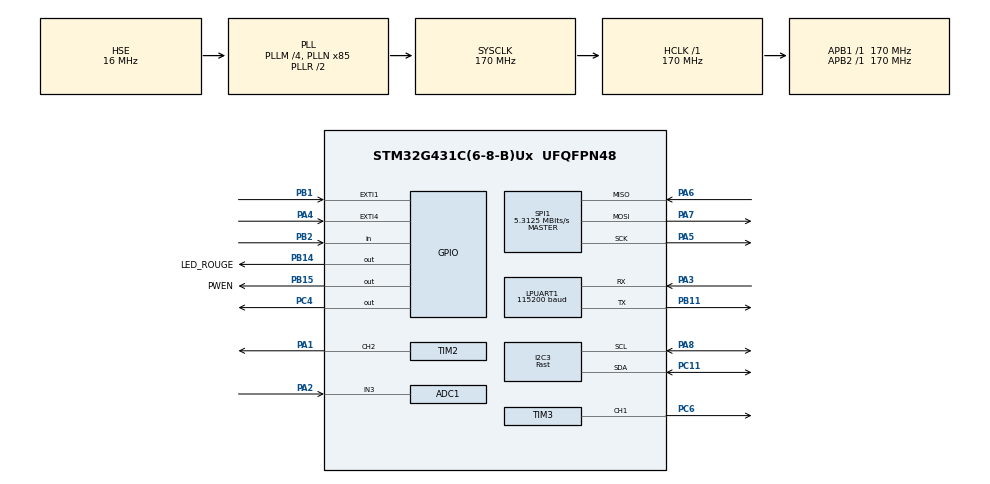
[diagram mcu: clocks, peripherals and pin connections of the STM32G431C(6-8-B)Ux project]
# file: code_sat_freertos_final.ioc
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ADC1.Channel-0\#ChannelRegularConversion=ADC_CHANNEL_VREFINT
ADC1.Channel-1\#ChannelRegularConversion=ADC_CHANNEL_TEMPSENSOR_ADC1
ADC1.Channel-2\#ChannelRegularConversion=ADC_CHANNEL_3
ADC1.ContinuousConvMode=ENABLE
ADC1.EOCSelection=ADC_EOC_SEQ_CONV
ADC1.NbrOfConversion=3
ADC1.NbrOfConversionFlag=1
ADC1.OffsetNumber-0\#ChannelRegularConversion=ADC_OFFSET_NONE
ADC1.OffsetNumber-1\#ChannelRegularConversion=ADC_OFFSET_NONE
ADC1.OffsetNumber-2\#ChannelRegularConversion=ADC_OFFSET_NONE
ADC1.Rank-0\#ChannelRegularConversion=1
ADC1.Rank-1\#ChannelRegularConversion=2
ADC1.Rank-2\#ChannelRegularConversion=3
ADC1.SamplingTime-0\#ChannelRegularConversion=ADC_SAMPLETIME_640CYCLES_5
ADC1.SamplingTime-1\#ChannelRegularConversion=ADC_SAMPLETIME_640CYCLES_5
ADC1.SamplingTime-2\#ChannelRegularConversion=ADC_SAMPLETIME_640CYCLES_5
ADC1.master=1
Dma.ADC1.0.Direction=DMA_PERIPH_TO_MEMORY
Dma.ADC1.0.EventEnable=DISABLE
Dma.ADC1.0.Instance=DMA1_Channel2
Dma.ADC1.0.MemDataAlignment=DMA_MDATAALIGN_HALFWORD
Dma.ADC1.0.MemInc=DMA_MINC_ENABLE
Dma.ADC1.0.Mode=DMA_CIRCULAR
Dma.ADC1.0.PeriphDataAlignment=DMA_PDATAALIGN_HALFWORD
Dma.ADC1.0.PeriphInc=DMA_PINC_DISABLE
Dma.ADC1.0.Polarity=HAL_DMAMUX_REQ_GEN_RISING
Dma.ADC1.0.Priority=DMA_PRIORITY_LOW
Dma.ADC1.0.RequestNumber=1
Dma.ADC1.0.SignalID=NONE
Dma.ADC1.0.SyncEnable=DISABLE
Dma.ADC1.0.SyncPolarity=HAL_DMAMUX_SYNC_NO_EVENT
Dma.ADC1.0.SyncRequestNumber=1
Dma.ADC1.0.SyncSignalID=NONE
Dma.LPUART1_RX.1.Direction=DMA_PERIPH_TO_MEMORY
Dma.LPUART1_RX.1.EventEnable=DISABLE
Dma.LPUART1_RX.1.Instance=DMA1_Channel3
Dma.LPUART1_RX.1.MemDataAlignment=DMA_MDATAALIGN_BYTE
Dma.LPUART1_RX.1.MemInc=DMA_MINC_ENABLE
Dma.LPUART1_RX.1.Mode=DMA_CIRCULAR
Dma.LPUART1_RX.1.PeriphDataAlignment=DMA_PDATAALIGN_BYTE
Dma.LPUART1_RX.1.PeriphInc=DMA_PINC_DISABLE
Dma.LPUART1_RX.1.Polarity=HAL_DMAMUX_REQ_GEN_RISING
Dma.LPUART1_RX.1.Priority=DMA_PRIORITY_LOW
Dma.LPUART1_RX.1.RequestNumber=1
Dma.LPUART1_RX.1.SignalID=NONE
Dma.LPUART1_RX.1.SyncEnable=DISABLE
Dma.LPUART1_RX.1.SyncPolarity=HAL_DMAMUX_SYNC_NO_EVENT
Dma.LPUART1_RX.1.SyncRequestNumber=1
Dma.LPUART1_RX.1.SyncSignalID=NONE
Dma.LPUART1_TX.3.Direction=DMA_MEMORY_TO_PERIPH
Dma.LPUART1_TX.3.EventEnable=DISABLE
Dma.LPUART1_TX.3.Instance=DMA1_Channel4
Dma.LPUART1_TX.3.MemDataAlignment=DMA_MDATAALIGN_BYTE
Dma.LPUART1_TX.3.MemInc=DMA_MINC_ENABLE
Dma.LPUART1_TX.3.Mode=DMA_NORMAL
Dma.LPUART1_TX.3.PeriphDataAlignment=DMA_PDATAALIGN_BYTE
Dma.LPUART1_TX.3.PeriphInc=DMA_PINC_DISABLE
Dma.LPUART1_TX.3.Polarity=HAL_DMAMUX_REQ_GEN_RISING
Dma.LPUART1_TX.3.Priority=DMA_PRIORITY_LOW
Dma.LPUART1_TX.3.RequestNumber=1
Dma.LPUART1_TX.3.SignalID=NONE
Dma.LPUART1_TX.3.SyncEnable=DISABLE
Dma.LPUART1_TX.3.SyncPolarity=HAL_DMAMUX_SYNC_NO_EVENT
Dma.LPUART1_TX.3.SyncRequestNumber=1
Dma.LPUART1_TX.3.SyncSignalID=NONE
Dma.Request0=ADC1
Dma.Request1=LPUART1_RX
Dma.Request2=TIM2_CH2
Dma.Request3=LPUART1_TX
Dma.TIM2_CH2.2.Direction=DMA_MEMORY_TO_PERIPH
Dma.TIM2_CH2.2.EventEnable=DISABLE
Dma.TIM2_CH2.2.Instance=DMA1_Channel1
Dma.TIM2_CH2.2.MemDataAlignment=DMA_MDATAALIGN_BYTE
Dma.TIM2_CH2.2.MemInc=DMA_MINC_ENABLE
Dma.TIM2_CH2.2.Mode=DMA_NORMAL
Dma.TIM2_CH2.2.PeriphDataAlignment=DMA_PDATAALIGN_WORD
Dma.TIM2_CH2.2.PeriphInc=DMA_PINC_DISABLE
Dma.TIM2_CH2.2.Polarity=HAL_DMAMUX_REQ_GEN_RISING
Dma.TIM2_CH2.2.Priority=DMA_PRIORITY_LOW
Dma.TIM2_CH2.2.RequestNumber=1
Dma.TIM2_CH2.2.SignalID=NONE
Dma.TIM2_CH2.2.SyncEnable=DISABLE
Dma.TIM2_CH2.2.SyncPolarity=HAL_DMAMUX_SYNC_NO_EVENT
Dma.TIM2_CH2.2.SyncRequestNumber=1
Dma.TIM2_CH2.2.SyncSignalID=NONE
FATFS._MAX_SS=512
FATFS._USE_LFN=0
FREERTOS.BinarySemaphores01=uartTxDone,Dynamic,NULL,Available
FREERTOS.INCLUDE_vTaskDelayUntil=1
FREERTOS.Mutexes01=SDCard_mutexe,Dynamic,NULL,Depleted;I2Cmutex,Dynamic,NULL,Depleted;uartmutex,Dynamic,NULL,Available
FREERTOS.Tasks01=statemachine,1,300,Startstatemachine,Default,NULL,Dynamic,NULL,NULL;Sdcardwrite,0,512,StartSdcard,Default,NULL,Dynamic,NULL,NULL;tarvosDecode,3,256,startTarvosDecode,Default,NULL,Dynamic,NULL,NULL
FREERTOS.configENABLE_FPU=1
FREERTOS.configTOTAL_HEAP_SIZE=12000
FREERTOS.configUSE_NEWLIB_REENTRANT=1
I2C3.I2C_Speed_Mode=I2C_Fast
I2C3.Timing=0x40621236
LPUART1.BaudRate=115200
Mcu.Family=STM32G4
Mcu.Name=STM32G431C(6-8-B)Ux
Mcu.Package=UFQFPN48
NVIC.ADC1_2_IRQn=true\:5\:0\:false\:false\:true\:true\:true\:true\:true
NVIC.DMA1_Channel1_IRQn=true\:5\:0\:false\:false\:true\:true\:false\:true\:true
NVIC.DMA1_Channel2_IRQn=true\:5\:0\:false\:false\:true\:true\:false\:true\:true
NVIC.DMA1_Channel3_IRQn=true\:5\:0\:false\:false\:true\:true\:false\:true\:true
NVIC.DMA1_Channel4_IRQn=true\:5\:0\:false\:false\:true\:true\:false\:true\:true
NVIC.EXTI1_IRQn=true\:5\:0\:false\:false\:true\:true\:true\:true\:true
NVIC.EXTI4_IRQn=true\:5\:0\:false\:false\:true\:true\:true\:true\:true
NVIC.LPUART1_IRQn=true\:5\:0\:false\:false\:true\:true\:true\:true\:true
NVIC.PriorityGroup=NVIC_PRIORITYGROUP_4
NVIC.TIM1_UP_TIM16_IRQn=true\:15\:0\:false\:false\:true\:false\:false\:true\:true
NVIC.TIM2_IRQn=true\:5\:0\:false\:false\:true\:true\:true\:true\:true
NVIC.TIM4_IRQn=true\:6\:0\:true\:false\:true\:true\:true\:true\:true
NVIC.TimeBase=TIM1_UP_TIM16_IRQn
NVIC.TimeBaseIP=TIM1
PA1.GPIO_Speed=GPIO_SPEED_FREQ_MEDIUM
PA1.Signal=S_TIM2_CH2
PA13.Mode=Trace_Asynchronous_SW
PA13.Signal=SYS_JTMS-SWDIO
PA14.Mode=Trace_Asynchronous_SW
PA14.Signal=SYS_JTCK-SWCLK
PA2.Mode=IN3-Single-Ended
PA2.Signal=ADC1_IN3
PA3.Mode=Asynchronous
PA3.Signal=LPUART1_RX
PA4.GPIO_ModeDefaultEXTI=GPIO_MODE_IT_RISING_FALLING
PA4.Signal=GPXTI4
PA5.GPIO_PuPd=GPIO_NOPULL
PA5.Mode=Full_Duplex_Master
PA5.Signal=SPI1_SCK
PA6.GPIO_PuPd=GPIO_NOPULL
PA6.Mode=Full_Duplex_Master
PA6.Signal=SPI1_MISO
PA7.GPIO_PuPd=GPIO_NOPULL
PA7.Mode=Full_Duplex_Master
PA7.Signal=SPI1_MOSI
PA8.Mode=I2C
PA8.Signal=I2C3_SCL
PB1.GPIO_ModeDefaultEXTI=GPIO_MODE_IT_RISING_FALLING
PB1.GPIO_PuPd=GPIO_NOPULL
PB1.Signal=GPXTI1
PB11.Mode=Asynchronous
PB11.Signal=LPUART1_TX
PB14.GPIO_Label=LED_ROUGE
PB14.Signal=GPIO_Output
PB15.GPIO_Label=PWEN
PB15.Signal=GPIO_Output
PB2.Signal=GPIO_Input
PB3.Mode=Trace_Asynchronous_SW
PB3.Signal=SYS_JTDO-SWO
PC11.Mode=I2C
PC11.Signal=I2C3_SDA
PC4.Signal=GPIO_Output
PC6.Signal=S_TIM3_CH1
PF0-OSC_IN.Mode=HSE-External-Oscillator
PF0-OSC_IN.Signal=RCC_OSC_IN
PF1-OSC_OUT.Mode=HSE-External-Oscillator
PF1-OSC_OUT.Signal=RCC_OSC_OUT
ProjectManager.HeapSize=0x200
ProjectManager.StackSize=0x400
ProjectManager.TargetToolchain=STM32CubeIDE
RCC.ADC12Freq_Value=170000000
RCC.AHBFreq_Value=170000000
RCC.APB1Freq_Value=170000000
RCC.APB1TimFreq_Value=170000000
RCC.APB2Freq_Value=170000000
RCC.APB2TimFreq_Value=170000000
RCC.CortexFreq_Value=170000000
RCC.EXTERNAL_CLOCK_VALUE=12288000
RCC.HCLKFreq_Value=170000000
RCC.HSE_VALUE=16000000
RCC.HSI48_VALUE=48000000
RCC.HSI_VALUE=16000000
RCC.LSE_VALUE=32768
RCC.PLLM=RCC_PLLM_DIV4
RCC.PLLN=85
RCC.PLLSourceVirtual=RCC_PLLSOURCE_HSE
RCC.SYSCLKFreq_VALUE=170000000
RCC.SYSCLKSource=RCC_SYSCLKSOURCE_PLLCLK
RCC.USBFreq_Value=170000000
RCC.VCOOutputFreq_Value=340000000
SH.S_TIM2_CH2.0=TIM2_CH2,PWM Generation2 CH2
SH.S_TIM3_CH1.0=TIM3_CH1,PWM Generation1 CH1
SPI1.BaudRatePrescaler=SPI_BAUDRATEPRESCALER_32
SPI1.CalculateBaudRate=5.3125 MBits/s
SPI1.DataSize=SPI_DATASIZE_8BIT
SPI1.Direction=SPI_DIRECTION_2LINES
SPI1.Mode=SPI_MODE_MASTER
SPI1.VirtualType=VM_MASTER
TIM2.Channel-PWM\ Generation2\ CH2=TIM_CHANNEL_2
TIM2.OCFastMode_PWM-PWM\ Generation2\ CH2=TIM_OCFAST_ENABLE
TIM2.PeriodNoDither=204-1
TIM2.Prescaler=0
TIM3.AutoReloadPreload=TIM_AUTORELOAD_PRELOAD_ENABLE
TIM3.Channel-PWM\ Generation1\ CH1=TIM_CHANNEL_1
TIM3.PeriodNoDither=10000-1
TIM3.Prescaler=170-1
TIM4.PeriodNoDither=2000-1
TIM4.Prescaler=17000-1
VP_ADC1_TempSens_Input.Mode=IN-TempSens
VP_ADC1_Vref_Input.Mode=IN-Vrefint
VP_FATFS_VS_Generic.Mode=User_defined
VP_FREERTOS_VS_CMSIS_V1.Mode=CMSIS_V1
VP_SYS_VS_DBSignals.Mode=DisableDeadBatterySignals
VP_SYS_VS_tim1.Mode=TIM1
VP_TIM2_VS_ClockSourceINT.Mode=Internal
VP_TIM3_VS_ClockSourceINT.Mode=Internal
VP_TIM4_VS_ClockSourceINT.Mode=Internal
board=custom

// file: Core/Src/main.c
/* USER CODE BEGIN Header */
/**
  ******************************************************************************
  * @file           : main.c
  * @brief          : Main program body
  ******************************************************************************
  * @attention
  *
  * Copyright (c) 2025 STMicroelectronics.
  * All rights reserved.
  *
  * This software is licensed under terms that can be found in the LICENSE file
  * in the root directory of this software component.
  * If no LICENSE file comes with this software, it is provided AS-IS.
  *
  ******************************************************************************
  */
/* USER CODE END Header */
#include "main.h"
#include "cmsis_os.h"
#include "adc.h"
#include "dma.h"
#include "app_fatfs.h"
#include "i2c.h"
#include "usart.h"
#include "spi.h"
#include "tim.h"
#include "gpio.h"

/* USER CODE BEGIN Includes */
#include "tarvos.h"
#include "led.h"
#include "servo.h"
#include "math.h"
#include "ssd1306.h"
/* USER CODE END Includes */

/* USER CODE BEGIN PV */

uint8_t tarvos_TX_Buffer[TarvosTxBufferSize];
uint8_t tarvos_DATA[64];
uint8_t tarvos_RX_Buffer[TarvosRxBufferSize];

uint8_t workingbuffer[110];
uint8_t sdcardbuffer[512];

FATFS FatFs;   // FATFS handle
FRESULT fres;  // Common result code
FILINFO fno;	  // Structure holds information
FATFS *getFreeFs; 	  // Read information
FIL fil;
DIR dir;			  // Directory object structure
DWORD free_clusters;  // Free Clusters
DWORD free_sectors;	  // Free Sectors
DWORD total_sectors;

int tbtn1=0;
uint16_t rawADCdata[3];
float temp=0;
float vrefint=0;
float vbat=0;

extern uint8_t dma_rx_buffer[DMA_CHUNK_SIZE];               // Réception DMA par bloc de 5
extern uint8_t circular_buffer[CIRC_BUF_SIZE];              // Buffer circulaire
extern volatile uint16_t write_index;
extern volatile uint16_t read_index;

DecodedPayload OTHERData;

uint8_t LEDDMABUF[DMABUFLEN];
uint8_t DMA_COMPLETE_FLAG=0;

int gros_btn_time=0;

int flag_drop = 0;
int flag_separation = 0;
int flag_calib=0;
int flag_bouton_servo=0;
int flag_servo_started=0;

uint32_t cpt_tps_chute=0;

int flag_fin=0;

float hauteur_Initiale=0.0;

float hauteur_relative=0.0;

int pbmseeker=0;

int received_flag=0;

int trameready=0;

uint32_t timeindex=0;

/* USER CODE END PV */

void SystemClock_Config(void);
void MX_FREERTOS_Init(void);

/* USER CODE BEGIN 0 */
void HAL_TIM_PWM_PulseFinishedCallback(TIM_HandleTypeDef *htim){

	LED_Callback();
}
/* USER CODE END 0 */

int main(void)
{

  /* MCU Configuration--------------------------------------------------------*/

  /* Reset of all peripherals, Initializes the Flash interface and the Systick. */
  HAL_Init();

  /* Configure the system clock */
  SystemClock_Config();

  /* Initialize all configured peripherals */
  MX_GPIO_Init();
  MX_DMA_Init();
  MX_ADC1_Init();
  MX_LPUART1_UART_Init();
  MX_TIM3_Init();
  MX_TIM2_Init();
  MX_SPI1_Init();
  if (MX_FATFS_Init() != APP_OK) {
    Error_Handler();
  }
  MX_TIM4_Init();
  MX_I2C3_Init();
  /* USER CODE BEGIN 2 */

  ssd1306_Init();
    ssd1306_Fill(Black);
    ssd1306_SetCursor(32, 40);
    ssd1306_WriteString("Init...", Font_7x10, White);
    ssd1306_UpdateScreen();

  HAL_GPIO_WritePin(PWEN_GPIO_Port,PWEN_Pin,GPIO_PIN_SET);
  HAL_GPIO_WritePin(LED_ROUGE_GPIO_Port,LED_ROUGE_Pin,GPIO_PIN_SET);

  HAL_Delay(10);

  if(HAL_ADC_Start_DMA(&hadc1,(uint16_t*)rawADCdata, 3)!=HAL_OK){
 	 pbmseeker=1;
   }

  if(  LED_Init()!=HAL_OK){
 	 pbmseeker=1;

   }

  if( INIT_PERM_TARVOS(SAT_ADDR, GROUND_ADDR)!=HAL_OK){
 	 pbmseeker=1;

   }

  HAL_Delay(100);
  HAL_UART_Abort(&hlpuart1);
  if(HAL_UART_Receive_DMA(&hlpuart1, dma_rx_buffer, DMA_CHUNK_SIZE)!=HAL_OK){
 	pbmseeker=1;

   }
  HAL_TIM_Base_Start_IT(&htim4);
  HAL_Delay(10);

  fres = f_mount(&FatFs, "", 1);
  		  if (fres == FR_OK) {
  			  fres = f_mkdir("DEMO");
  			  fres = f_open(&fil, "/DEMO/write.txt",FA_WRITE | FA_OPEN_ALWAYS);
  			  if (fres == FR_OK) {
  				  //snprintf((char*) readBuf,30, "I hate Java!");
  				  UINT bytesWrote;
  				  fres = f_write(&fil,(uint8_t *)"test123test", 11, &bytesWrote);
  				  f_close(&fil);

  			  }
  			  f_mount(NULL, "", 0);
  		  }

  /* USER CODE END 2 */

  /* Call init function for freertos objects (in cmsis_os2.c) */
  MX_FREERTOS_Init();

  /* Start scheduler */
  osKernelStart();

  /* We should never get here as control is now taken by the scheduler */

  /* Infinite loop */
  while (1)
  {

  }
}

void SystemClock_Config(void)
{
  RCC_OscInitTypeDef RCC_OscInitStruct = {0};
  RCC_ClkInitTypeDef RCC_ClkInitStruct = {0};

  /** Configure the main internal regulator output voltage
  */
  HAL_PWREx_ControlVoltageScaling(PWR_REGULATOR_VOLTAGE_SCALE1_BOOST);

  /** Initializes the RCC Oscillators according to the specified parameters
  * in the RCC_OscInitTypeDef structure.
  */
  RCC_OscInitStruct.OscillatorType = RCC_OSCILLATORTYPE_HSE;
  RCC_OscInitStruct.HSEState = RCC_HSE_ON;
  RCC_OscInitStruct.PLL.PLLState = RCC_PLL_ON;
  RCC_OscInitStruct.PLL.PLLSource = RCC_PLLSOURCE_HSE;
  RCC_OscInitStruct.PLL.PLLM = RCC_PLLM_DIV4;
  RCC_OscInitStruct.PLL.PLLN = 85;
  RCC_OscInitStruct.PLL.PLLP = RCC_PLLP_DIV2;
  RCC_OscInitStruct.PLL.PLLQ = RCC_PLLQ_DIV2;
  RCC_OscInitStruct.PLL.PLLR = RCC_PLLR_DIV2;
  if (HAL_RCC_OscConfig(&RCC_OscInitStruct) != HAL_OK)
  {
    Error_Handler();
  }

  /** Initializes the CPU, AHB and APB buses clocks
  */
  RCC_ClkInitStruct.ClockType = RCC_CLOCKTYPE_HCLK|RCC_CLOCKTYPE_SYSCLK
                              |RCC_CLOCKTYPE_PCLK1|RCC_CLOCKTYPE_PCLK2;
  RCC_ClkInitStruct.SYSCLKSource = RCC_SYSCLKSOURCE_PLLCLK;
  RCC_ClkInitStruct.AHBCLKDivider = RCC_SYSCLK_DIV1;
  RCC_ClkInitStruct.APB1CLKDivider = RCC_HCLK_DIV1;
  RCC_ClkInitStruct.APB2CLKDivider = RCC_HCLK_DIV1;

  if (HAL_RCC_ClockConfig(&RCC_ClkInitStruct, FLASH_LATENCY_4) != HAL_OK)
  {
    Error_Handler();
  }
}

void HAL_TIM_PeriodElapsedCallback(TIM_HandleTypeDef *htim)
{
  if (htim->Instance == TIM1)
  {
    HAL_IncTick();
  }
}

void Error_Handler(void)
{
  __disable_irq();
  while (1)
  {
  }
}

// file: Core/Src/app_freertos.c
/* USER CODE BEGIN Header */
/**
  ******************************************************************************
  * File Name          : app_freertos.c
  * Description        : Code for freertos applications
  ******************************************************************************
  * @attention
  *
  * Copyright (c) 2025 STMicroelectronics.
  * All rights reserved.
  *
  * This software is licensed under terms that can be found in the LICENSE file
  * in the root directory of this software component.
  * If no LICENSE file comes with this software, it is provided AS-IS.
  *
  ******************************************************************************
  */
/* USER CODE END Header */

#include "FreeRTOS.h"
#include "task.h"
#include "main.h"
#include "cmsis_os.h"

/* USER CODE BEGIN Includes */
#include "tarvos.h"
#include "led.h"
#include "servo.h"
#include "math.h"
#include "usart.h"
#include "app_fatfs.h"
#include "sd_app.h"
#include "ssd1306.h"
/* USER CODE END Includes */

/* USER CODE BEGIN Variables */

extern uint16_t rawADCdata[3];
extern float temp;
extern float vrefint;
extern float vbat;

extern uint8_t tarvos_TX_Buffer[TarvosTxBufferSize];
extern uint8_t tarvos_DATA[64];
extern uint8_t tarvos_RX_Buffer[TarvosRxBufferSize];
extern uint8_t sdcardbuffer[512];
extern uint8_t workingbuffer[110];

extern uint8_t dma_rx_buffer[DMA_CHUNK_SIZE];               // Réception DMA par bloc de 5
extern uint8_t circular_buffer[CIRC_BUF_SIZE];              // Buffer circulaire
extern volatile uint16_t write_index;
extern volatile uint16_t read_index;

extern uint8_t LEDDMABUF[DMABUFLEN];
extern uint8_t DMA_COMPLETE_FLAG;

extern int flag_drop;
extern int flag_separation;
extern int flag_calib;

extern int flag_bouton_servo;
extern float hauteur_Initiale;

extern float hauteur_relative;

extern int pbmseeker;

extern int trameready;

extern int flag_servo_started;

extern int received_flag;

int counterrecalib=0;
int sd_counter=0;

int8_t vraiRSSI=0;
float distance_RSSI=0.0;

extern DecodedPayload OTHERData;

int pbmseeker_flag=0;
int blinker_sd_flag=0;

extern uint32_t timeindex;

extern uint32_t cpt_tps_chute;
extern int flag_fin;

UBaseType_t sizestatemachine;
UBaseType_t sizeGNSS;
UBaseType_t sizesdcard;
UBaseType_t sizetarvos;

float timestatemachine=0.0;
float timesdcard=0.0;
float timedecode=0.0;
float timeservo=0.0;
float timedist=0.0;
float timeGNSS=0.0;

extern FATFS FatFs;   // FATFS handle
extern FILINFO fno;	  // Structure holds information
extern FATFS *getFreeFs; 	  // Read information
extern FIL fil;
extern DIR dir;			  // Directory object structure
extern DWORD free_clusters;  // Free Clusters
extern DWORD free_sectors;	  // Free Sectors
extern DWORD total_sectors;

int led_flag=0;
uint8_t lcdbuffer[64];

/* USER CODE END Variables */
osThreadId statemachineHandle;
osThreadId SdcardwriteHandle;
osThreadId tarvosDecodeHandle;
osMutexId SDCard_mutexeHandle;
osMutexId I2CmutexHandle;
osMutexId uartmutexHandle;
osSemaphoreId uartTxDoneHandle;

void Startstatemachine(void const * argument);
void StartSdcard(void const * argument);
void startTarvosDecode(void const * argument);

void MX_FREERTOS_Init(void); /* (MISRA C 2004 rule 8.1) */

void MX_FREERTOS_Init(void) {
  /* Create the mutex(es) */
  /* definition and creation of SDCard_mutexe */
  osMutexDef(SDCard_mutexe);
  SDCard_mutexeHandle = osMutexCreate(osMutex(SDCard_mutexe));

  /* definition and creation of I2Cmutex */
  osMutexDef(I2Cmutex);
  I2CmutexHandle = osMutexCreate(osMutex(I2Cmutex));

  /* definition and creation of uartmutex */
  osMutexDef(uartmutex);
  uartmutexHandle = osMutexCreate(osMutex(uartmutex));

  /* Create the semaphores(s) */
  /* definition and creation of uartTxDone */
  osSemaphoreDef(uartTxDone);
  uartTxDoneHandle = osSemaphoreCreate(osSemaphore(uartTxDone), 1);

  /* USER CODE BEGIN RTOS_SEMAPHORES */
  osSemaphoreWait(uartTxDoneHandle, 0);
  /* add semaphores, ... */
  /* USER CODE END RTOS_SEMAPHORES */

  /* Create the thread(s) */
  /* definition and creation of statemachine */
  osThreadDef(statemachine, Startstatemachine, osPriorityAboveNormal, 0, 300);
  statemachineHandle = osThreadCreate(osThread(statemachine), NULL);

  /* definition and creation of Sdcardwrite */
  osThreadDef(Sdcardwrite, StartSdcard, osPriorityNormal, 0, 512);
  SdcardwriteHandle = osThreadCreate(osThread(Sdcardwrite), NULL);

  /* definition and creation of tarvosDecode */
  osThreadDef(tarvosDecode, startTarvosDecode, osPriorityRealtime, 0, 256);
  tarvosDecodeHandle = osThreadCreate(osThread(tarvosDecode), NULL);

  /* USER CODE BEGIN RTOS_THREADS */

  CoreDebug->DEMCR |=CoreDebug_DEMCR_TRCENA_Msk;
  DWT->CYCCNT =0;
  DWT->CTRL |= DWT_CTRL_CYCCNTENA_Msk;

  /* add threads, ... */
  /* USER CODE END RTOS_THREADS */

}

void Startstatemachine(void const * argument)
{
  /* USER CODE BEGIN Startstatemachine */
	TickType_t xLastWakeTime = xTaskGetTickCount();
  /* Infinite loop */
  for(;;)
  {
	  //lcd_clear();

	  if(flag_fin==0){

		  if(led_flag==0){
			  LED_Setcolour(255, 0, 0,0, 0, 255);
			  LED_Update();

		  }
		  else{
			  LED_Setcolour(0, 0, 255,255, 0, 0);
			  LED_Update();
		  }
		  led_flag=1-led_flag;

		  if ((vraiRSSI >= 0) || (vraiRSSI < -120) || (NVALUE <= 0.0f)) {
		 	        distance_RSSI= -1.0f; // Valeur invalide
		 	    }
		 	    else{
		 	    	float exponent= 0.0f;
		 		    exponent = ((float)RSSI0 - (float)vraiRSSI) / (10.0f * NVALUE);
		 		    distance_RSSI= powf(10.0f, exponent);
		 	    }

	ssd1306_Fill(Black);
	ssd1306_SetCursor(32, 32);
	ssd1306_WriteString("H_baro", Font_6x8, White);
	ssd1306_SetCursor(32, 40);
	snprintf((char *)lcdbuffer,30,"%0.2f  ",OTHERData.altitude_baro);
	ssd1306_WriteString((char *)lcdbuffer, Font_6x8, White);
	ssd1306_SetCursor(32, 48);
	ssd1306_WriteString("H_RSSI", Font_6x8, White);
	ssd1306_SetCursor(32, 56);
	snprintf((char *)lcdbuffer,30,"%0.1fm   ",distance_RSSI);
	ssd1306_WriteString((char *)lcdbuffer, Font_6x8, White);
	create_and_send_payload((uint8_t *) tarvos_TX_Buffer,CHANNEL,GROUND_ADDR,0x10,0.0,0.0,distance_RSSI,0.0,0.0,0.0,0.0,0.0,0.0,0.0,0.0,timeindex);
	  }
	  else{
		  ssd1306_Fill(Black);
		  ssd1306_SetCursor(32, 32);
		  ssd1306_WriteString("FIN", Font_16x24, White);

	  }

	  ssd1306_UpdateScreen();

	  vTaskDelayUntil(&xLastWakeTime, pdMS_TO_TICKS(200));
  }
  /* USER CODE END Startstatemachine */
}

void StartSdcard(void const * argument)
{
  /* USER CODE BEGIN StartSdcard */

	FRESULT fres=FR_OK;
	fres = f_mount(&FatFs, "", 1);
	TickType_t xLastWakeTime = xTaskGetTickCount();
  /* Infinite loop */
  for(;;)
  {
	  uint32_t start1= DWT->CYCCNT;
		  //osMutexWait(SDCard_mutexeHandle, portMAX_DELAY);

		  blinker_sd_flag=1-blinker_sd_flag;
		  if(blinker_sd_flag==1){
			  LED_Setcolour(0,0,0,255,255,255);
		  }
		  else{
			  LED_Setcolour(0,0,0,0,0,0);
		  }

		  if(flag_drop==0){

			  if(sd_counter==5){
				  fres=store_in_sd(fres);

			  sd_counter=0;
			  }
			  sd_counter++;

		  }
		  else{
			  fres=store_in_sd(fres);

		  }

		  //osMutexRelease(SDCard_mutexeHandle);

			if(flag_fin==1){

				f_mount(NULL, "", 0);
				osThreadSuspend(NULL);
			}

			  uint32_t end1= DWT->CYCCNT;
			  uint32_t cycles= end1-start1;
			  timesdcard=(float) cycles/(SystemCoreClock/1000000.0f);

			  vTaskDelayUntil(&xLastWakeTime, pdMS_TO_TICKS(200));
  }
  /* USER CODE END StartSdcard */
}

void startTarvosDecode(void const * argument)
{
  /* USER CODE BEGIN startTarvosDecode */
	TickType_t xLastWakeTime = xTaskGetTickCount();
	 uint8_t temp_trame[TRAME_SIZE];
		      uint8_t temp5[5];
		      uint8_t data_index = 0;
  /* Infinite loop */
  for(;;)
  {
	  uint32_t start1= DWT->CYCCNT;

	          while (read_index != write_index) {
	              // Recherche de l'entête principale
	              if (circular_buffer[read_index] == 0x02 &&
	                  circular_buffer[(read_index + 1) % CIRC_BUF_SIZE] == 0x81)
	              {
	                  data_index = 0;

	                  while (data_index < TRAME_SIZE) {
	                      // Vérifie s’il reste au moins 5 octets
	                      uint16_t available = (write_index >= read_index)
	                          ? (write_index - read_index)
	                          : (CIRC_BUF_SIZE - read_index + write_index);

	                      if (available < 5) {
	                          break; // attendre plus de données
	                      }

	                      // Copie 5 octets
	                      for (int i = 0; i < 5; i++) {
	                          temp5[i] = circular_buffer[(read_index + i) % CIRC_BUF_SIZE];
	                      }

	                      // Confirmation TX ? (trame parasite)
	                      if (temp5[0] == 0x02 && temp5[1] == 0x40 && temp5[2] == 0x01) {
	                          // Skip trame de confirmation
	                          read_index = (read_index + 5) % CIRC_BUF_SIZE;
	                          continue;
	                      }

	                      // Sinon : partie utile, on ajoute à la trame
	                      for (int i = 0; i < 5 && data_index < TRAME_SIZE; i++) {
	                          temp_trame[data_index++] = temp5[i];
	                      }

	                      read_index = (read_index + 5) % CIRC_BUF_SIZE;
	                  }

	                  if (data_index == TRAME_SIZE) {

	                	  if (tarvos_checksum(temp_trame, TRAME_SIZE) == temp_trame[TRAME_SIZE - 1]) {

	                      memcpy(tarvos_DATA, temp_trame, TRAME_SIZE);
	                      decode_payload(&OTHERData,(uint8_t *) tarvos_DATA);

	                	  }

	                  }
	              } else {
	                  // Entête invalide : skip 1 octet
	                  read_index = (read_index + 1) % CIRC_BUF_SIZE;
	              }
	          }

		if(flag_fin==1){

			osThreadSuspend(NULL);
		}

		  uint32_t end1= DWT->CYCCNT;
		  uint32_t cycles= end1-start1;

		  timedecode=(float) cycles/(SystemCoreClock/1000000.0f);

vTaskDelay(pdMS_TO_TICKS(30));
  }
  /* USER CODE END startTarvosDecode */
}
